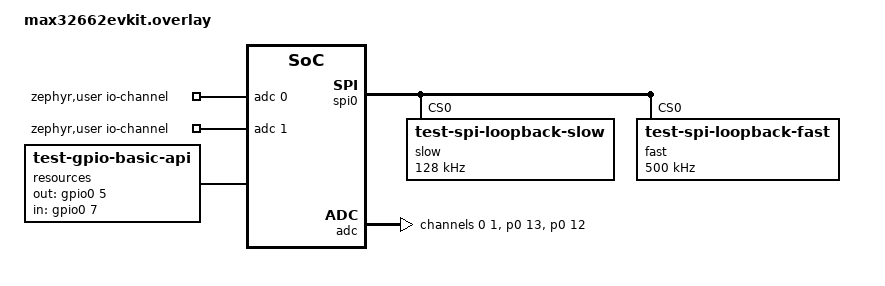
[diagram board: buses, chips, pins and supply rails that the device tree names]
/*
 * Copyright (c) 2025 Analog Devices, Inc.
 *
 * SPDX-License-Identifier: Apache-2.0
 */

tst_dma0: &dma0 {};

&sram0 {
	compatible = "mmio-sram";
	reg = <0x20000000 DT_SIZE_K(64)>;
};

/ {
	chosen {
		zephyr,sram = &sram0;
	};
};

&sram2 {
	reg = <20008000 DT_SIZE_K(32)>;
};

&spi0 {
	dmas = <&dma0 1 MAX32_DMA_SLOT_SPI0_TX>, <&dma0 2 MAX32_DMA_SLOT_SPI0_RX>;
	dma-names = "tx", "rx";
	slow@0 {
		compatible = "test-spi-loopback-slow";
		reg = <0>;
		spi-max-frequency = <128000>;
	};
	fast@0 {
		compatible = "test-spi-loopback-fast";
		reg = <0>;
		spi-max-frequency = <500000>;
	};
};

/ {
	zephyr,user {
		io-channels = <&adc 0>, <&adc 1>;
	};
};

&adc {
	status = "okay";
	pinctrl-0 = <&ain0_p0_13 &ain1_p0_12>;
	pinctrl-names = "default";
	#address-cells = <1>;
	#size-cells = <0>;
	channel@0 {
		reg = <0>;
		zephyr,gain = "ADC_GAIN_1";
		zephyr,reference = "ADC_REF_INTERNAL";
		zephyr,acquisition-time = <ADC_ACQ_TIME_DEFAULT>;
		zephyr,resolution = <12>;
	};
	channel@1 {
		reg = <1>;
		zephyr,gain = "ADC_GAIN_1";
		zephyr,reference = "ADC_REF_INTERNAL";
		zephyr,acquisition-time = <ADC_ACQ_TIME_DEFAULT>;
		zephyr,resolution = <12>;
	};
};

/ {
	resources {
		compatible = "test-gpio-basic-api";
		out-gpios = <&gpio0 5 0>;
		in-gpios = <&gpio0 7 0>;
	};
};
